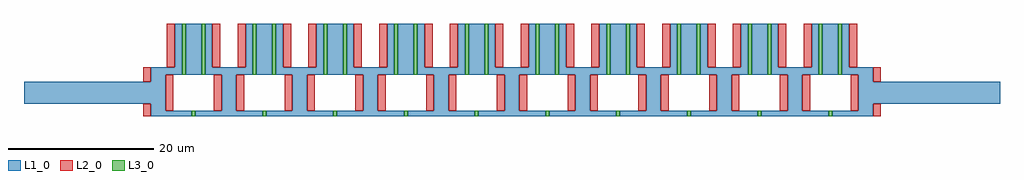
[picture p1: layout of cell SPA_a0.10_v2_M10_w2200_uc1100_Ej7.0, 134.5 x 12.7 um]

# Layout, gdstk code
import gdstk
lib = gdstk.Library(unit=1e-6, precision=1e-09)
def R(c, l, rs):  # rectangles x0, y0, x1, y1
    for r in rs: c.add(gdstk.rectangle(r[:2], r[2:], *l))
def A(c, l, x, y, w, h, nx, ny, dx, dy):  # array of equal rectangles
    R(c, l, [(x+i*dx, y+j*dy, x+i*dx+w, y+j*dy+h) for i in range(nx) for j in range(ny)])
def P(c, l, *ps):  # polygons
    for p in ps: c.add(gdstk.Polygon(p, *l))
L1_0 = (1, 0)
L2_0 = (2, 0)
L3_0 = (3, 0)

spa_a0_10_v2_m10_w2200_u = lib.new_cell('SPA_a0.10_v2_M10_w2200_uc1100_Ej7.0')
A(spa_a0_10_v2_m10_w2200_u, L1_0, -44.975, 2.5, 2.2, 7, 10, 1, 9.75, 0)
R(spa_a0_10_v2_m10_w2200_u, L1_0, [(-67.25,-1.5,-49.75,1.5), (49.75,-1.5,67.25,1.5)])
P(spa_a0_10_v2_m10_w2200_u, L1_0, [(-49.75,-3.2),(-49.75,3.5),(-46.475,3.5),(-46.475,9.5),(-45.475,9.5),(-45.475,2.5),(-47.75,2.5),(-47.75,-2.5),(-44.125,-2.5),(-44.125,-3.2),(-45.125,-3.2),(-45.125,-3.2)],
  [(-39,-3.2),(-39,3.5),(-41.275,3.5),(-41.275,9.5),(-42.275,9.5),(-42.275,2.5),(-40,2.5),(-40,-2.5),(-43.625,-2.5),(-43.625,-3.2),(-42.625,-3.2),(-42.625,-3.2)],
  [(-39,-3.2),(-39,3.5),(-36.725,3.5),(-36.725,9.5),(-35.725,9.5),(-35.725,2.5),(-38,2.5),(-38,-2.5),(-34.375,-2.5),(-34.375,-3.2),(-35.375,-3.2),(-35.375,-3.2)],
  [(-29.25,-3.2),(-29.25,3.5),(-31.525,3.5),(-31.525,9.5),(-32.525,9.5),(-32.525,2.5),(-30.25,2.5),(-30.25,-2.5),(-33.875,-2.5),(-33.875,-3.2),(-32.875,-3.2),(-32.875,-3.2)],
  [(-29.25,-3.2),(-29.25,3.5),(-26.975,3.5),(-26.975,9.5),(-25.975,9.5),(-25.975,2.5),(-28.25,2.5),(-28.25,-2.5),(-24.625,-2.5),(-24.625,-3.2),(-25.625,-3.2),(-25.625,-3.2)],
  [(-19.5,-3.2),(-19.5,3.5),(-21.775,3.5),(-21.775,9.5),(-22.775,9.5),(-22.775,2.5),(-20.5,2.5),(-20.5,-2.5),(-24.125,-2.5),(-24.125,-3.2),(-23.125,-3.2),(-23.125,-3.2)],
  [(-19.5,-3.2),(-19.5,3.5),(-17.225,3.5),(-17.225,9.5),(-16.225,9.5),(-16.225,2.5),(-18.5,2.5),(-18.5,-2.5),(-14.875,-2.5),(-14.875,-3.2),(-15.875,-3.2),(-15.875,-3.2)],
  [(-9.75,-3.2),(-9.75,3.5),(-12.025,3.5),(-12.025,9.5),(-13.025,9.5),(-13.025,2.5),(-10.75,2.5),(-10.75,-2.5),(-14.375,-2.5),(-14.375,-3.2),(-13.375,-3.2),(-13.375,-3.2)],
  [(-9.75,-3.2),(-9.75,3.5),(-7.475,3.5),(-7.475,9.5),(-6.475,9.5),(-6.475,2.5),(-8.75,2.5),(-8.75,-2.5),(-5.125,-2.5),(-5.125,-3.2),(-6.125,-3.2),(-6.125,-3.2)],
  [(0,-3.2),(0,3.5),(-2.275,3.5),(-2.275,9.5),(-3.275,9.5),(-3.275,2.5),(-1,2.5),(-1,-2.5),(-4.625,-2.5),(-4.625,-3.2),(-3.625,-3.2),(-3.625,-3.2)],
  [(0,-3.2),(0,3.5),(2.275,3.5),(2.275,9.5),(3.275,9.5),(3.275,2.5),(1,2.5),(1,-2.5),(4.625,-2.5),(4.625,-3.2),(3.625,-3.2),(3.625,-3.2)],
  [(9.75,-3.2),(9.75,3.5),(7.475,3.5),(7.475,9.5),(6.475,9.5),(6.475,2.5),(8.75,2.5),(8.75,-2.5),(5.125,-2.5),(5.125,-3.2),(6.125,-3.2),(6.125,-3.2)],
  [(9.75,-3.2),(9.75,3.5),(12.025,3.5),(12.025,9.5),(13.025,9.5),(13.025,2.5),(10.75,2.5),(10.75,-2.5),(14.375,-2.5),(14.375,-3.2),(13.375,-3.2),(13.375,-3.2)],
  [(19.5,-3.2),(19.5,3.5),(17.225,3.5),(17.225,9.5),(16.225,9.5),(16.225,2.5),(18.5,2.5),(18.5,-2.5),(14.875,-2.5),(14.875,-3.2),(15.875,-3.2),(15.875,-3.2)],
  [(19.5,-3.2),(19.5,3.5),(21.775,3.5),(21.775,9.5),(22.775,9.5),(22.775,2.5),(20.5,2.5),(20.5,-2.5),(24.125,-2.5),(24.125,-3.2),(23.125,-3.2),(23.125,-3.2)],
  [(29.25,-3.2),(29.25,3.5),(26.975,3.5),(26.975,9.5),(25.975,9.5),(25.975,2.5),(28.25,2.5),(28.25,-2.5),(24.625,-2.5),(24.625,-3.2),(25.625,-3.2),(25.625,-3.2)],
  [(29.25,-3.2),(29.25,3.5),(31.525,3.5),(31.525,9.5),(32.525,9.5),(32.525,2.5),(30.25,2.5),(30.25,-2.5),(33.875,-2.5),(33.875,-3.2),(32.875,-3.2),(32.875,-3.2)],
  [(39,-3.2),(39,3.5),(36.725,3.5),(36.725,9.5),(35.725,9.5),(35.725,2.5),(38,2.5),(38,-2.5),(34.375,-2.5),(34.375,-3.2),(35.375,-3.2),(35.375,-3.2)],
  [(39,-3.2),(39,3.5),(41.275,3.5),(41.275,9.5),(42.275,9.5),(42.275,2.5),(40,2.5),(40,-2.5),(43.625,-2.5),(43.625,-3.2),(42.625,-3.2),(42.625,-3.2)],
  [(49.75,-3.2),(49.75,3.5),(46.475,3.5),(46.475,9.5),(45.475,9.5),(45.475,2.5),(47.75,2.5),(47.75,-2.5),(44.125,-2.5),(44.125,-3.2),(45.125,-3.2),(45.125,-3.2)])
R(spa_a0_10_v2_m10_w2200_u, L2_0, [(-50.85,-3.2,-49.75,-1.5), (49.75,-3.2,50.85,-1.5), (-47.75,-2.5,-46.65,2.5), (-41.1,-2.5,-40,2.5), (-38,-2.5,-36.9,2.5), (-31.35,-2.5,-30.25,2.5), (-28.25,-2.5,-27.15,2.5), (-21.6,-2.5,-20.5,2.5), (-18.5,-2.5,-17.4,2.5), (-11.85,-2.5,-10.75,2.5), (-8.75,-2.5,-7.65,2.5), (-2.1,-2.5,-1,2.5), (1,-2.5,2.1,2.5), (7.65,-2.5,8.75,2.5), (10.75,-2.5,11.85,2.5), (17.4,-2.5,18.5,2.5), (20.5,-2.5,21.6,2.5), (27.15,-2.5,28.25,2.5), (30.25,-2.5,31.35,2.5), (36.9,-2.5,38,2.5), (40,-2.5,41.1,2.5), (46.65,-2.5,47.75,2.5), (-50.85,1.5,-49.75,3.5), (49.75,1.5,50.85,3.5), (-47.575,3.5,-46.475,9.5), (-41.275,3.5,-40.175,9.5), (-37.825,3.5,-36.725,9.5), (-31.525,3.5,-30.425,9.5), (-28.075,3.5,-26.975,9.5), (-21.775,3.5,-20.675,9.5), (-18.325,3.5,-17.225,9.5), (-12.025,3.5,-10.925,9.5), (-8.575,3.5,-7.475,9.5), (-2.275,3.5,-1.175,9.5), (1.175,3.5,2.275,9.5), (7.475,3.5,8.575,9.5), (10.925,3.5,12.025,9.5), (17.225,3.5,18.325,9.5), (20.675,3.5,21.775,9.5), (26.975,3.5,28.075,9.5), (30.425,3.5,31.525,9.5), (36.725,3.5,37.825,9.5), (40.175,3.5,41.275,9.5), (46.475,3.5,47.575,9.5)])
A(spa_a0_10_v2_m10_w2200_u, L3_0, -44.125, -3.2, 0.5, 0.7, 10, 1, 9.75, 0)
R(spa_a0_10_v2_m10_w2200_u, L3_0, [(-45.475,2.5,-44.975,9.5), (-42.775,2.5,-42.275,9.5), (-35.725,2.5,-35.225,9.5), (-33.025,2.5,-32.525,9.5), (-25.975,2.5,-25.475,9.5), (-23.275,2.5,-22.775,9.5), (-16.225,2.5,-15.725,9.5), (-13.525,2.5,-13.025,9.5), (-6.475,2.5,-5.975,9.5), (-3.775,2.5,-3.275,9.5), (3.275,2.5,3.775,9.5), (5.975,2.5,6.475,9.5), (13.025,2.5,13.525,9.5), (15.725,2.5,16.225,9.5), (22.775,2.5,23.275,9.5), (25.475,2.5,25.975,9.5), (32.525,2.5,33.025,9.5), (35.225,2.5,35.725,9.5), (42.275,2.5,42.775,9.5), (44.975,2.5,45.475,9.5)])

lib.write_gds('SPA_a0.10_v2_M10_w2200_uc1100_Ej7.0.gds')
